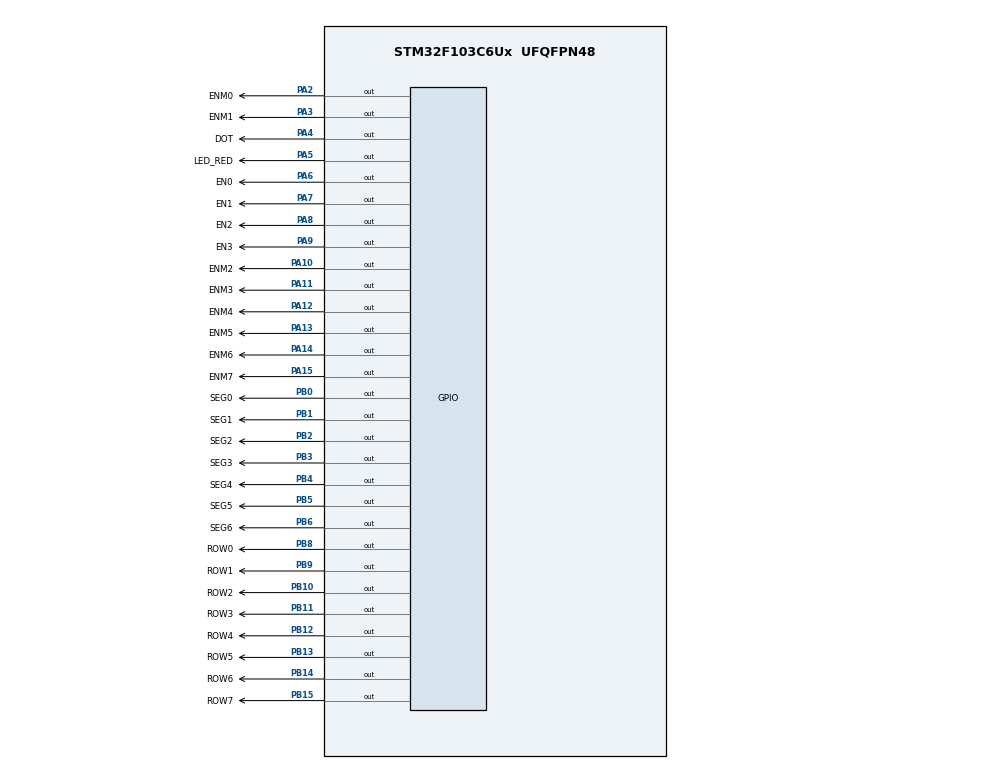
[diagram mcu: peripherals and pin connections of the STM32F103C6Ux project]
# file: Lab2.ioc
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Mcu.Family=STM32F1
Mcu.Name=STM32F103C6Ux
Mcu.Package=UFQFPN48
NVIC.PriorityGroup=NVIC_PRIORITYGROUP_4
NVIC.TIM2_IRQn=true\:0\:0\:false\:false\:true\:true\:true
PA10.GPIO_Label=ENM2
PA10.Signal=GPIO_Output
PA11.GPIO_Label=ENM3
PA11.Signal=GPIO_Output
PA12.GPIO_Label=ENM4
PA12.Signal=GPIO_Output
PA13.GPIO_Label=ENM5
PA13.Signal=GPIO_Output
PA14.GPIO_Label=ENM6
PA14.Signal=GPIO_Output
PA15.GPIO_Label=ENM7
PA15.Signal=GPIO_Output
PA2.GPIO_Label=ENM0
PA2.Signal=GPIO_Output
PA3.GPIO_Label=ENM1
PA3.Signal=GPIO_Output
PA4.GPIO_Label=DOT
PA4.Signal=GPIO_Output
PA5.GPIO_Label=LED_RED
PA5.Signal=GPIO_Output
PA6.GPIO_Label=EN0
PA6.Signal=GPIO_Output
PA7.GPIO_Label=EN1
PA7.Signal=GPIO_Output
PA8.GPIO_Label=EN2
PA8.Signal=GPIO_Output
PA9.GPIO_Label=EN3
PA9.Signal=GPIO_Output
PB0.GPIO_Label=SEG0
PB0.Signal=GPIO_Output
PB1.GPIO_Label=SEG1
PB1.Signal=GPIO_Output
PB10.GPIO_Label=ROW2
PB10.Signal=GPIO_Output
PB11.GPIO_Label=ROW3
PB11.Signal=GPIO_Output
PB12.GPIO_Label=ROW4
PB12.Signal=GPIO_Output
PB13.GPIO_Label=ROW5
PB13.Signal=GPIO_Output
PB14.GPIO_Label=ROW6
PB14.Signal=GPIO_Output
PB15.GPIO_Label=ROW7
PB15.Signal=GPIO_Output
PB2.GPIO_Label=SEG2
PB2.Signal=GPIO_Output
PB3.GPIO_Label=SEG3
PB3.Signal=GPIO_Output
PB4.GPIO_Label=SEG4
PB4.Signal=GPIO_Output
PB5.GPIO_Label=SEG5
PB5.Signal=GPIO_Output
PB6.GPIO_Label=SEG6
PB6.Signal=GPIO_Output
PB8.GPIO_Label=ROW0
PB8.Signal=GPIO_Output
PB9.GPIO_Label=ROW1
PB9.Signal=GPIO_Output
ProjectManager.HeapSize=0x200
ProjectManager.StackSize=0x400
ProjectManager.TargetToolchain=STM32CubeIDE
RCC.APB1Freq_Value=8000000
RCC.APB2Freq_Value=8000000
TIM2.Period=9
TIM2.Prescaler=7999
VP_SYS_VS_ND.Mode=No_Debug
VP_TIM2_VS_ClockSourceINT.Mode=Internal
board=custom

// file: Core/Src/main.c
/* USER CODE BEGIN Header */
/**
  ******************************************************************************
  * @file           : main.c
  * @brief          : Main program body
  ******************************************************************************
  * @attention
  *
  * <h2><center>&copy; Copyright (c) 2024 STMicroelectronics.
  * All rights reserved.</center></h2>
  *
  * This software component is licensed by ST under BSD 3-Clause license,
  * the "License"; You may not use this file except in compliance with the
  * License. You may obtain a copy of the License at:
  *                        opensource.org/licenses/BSD-3-Clause
  *
  ******************************************************************************
  */
/* USER CODE END Header */
#include "main.h"

/* USER CODE BEGIN Includes */
#include "led7seg1.h"
#include "timer.h"
#include "ledmatrix.h"
/* USER CODE END Includes */

TIM_HandleTypeDef htim2;

void SystemClock_Config(void);
static void MX_TIM2_Init(void);
static void MX_GPIO_Init(void);

/* USER CODE BEGIN 0 */
int hour = 15, minute = 8, second = 50;
int led_buffer[4];
int index_led = 0;
int index_led_matrix = 0;
uint8_t matrix_buffer[8] = {
		0x06,
		0x01,
		0x06,
		0x06,
		0x06,
		0x06,
		0x01,
		0x02
};
void updateLEDMatrix(int index)
{
	switch(index)
	{
	case 0:
		selectRow(index);
		determineCol(matrix_buffer[index]);
		break;
	case 1:
		selectRow(index);
		determineCol(matrix_buffer[index]);
		break;
	case 2:
		selectRow(index);
		determineCol(matrix_buffer[index]);
		break;
	case 3:
		selectRow(index);
		determineCol(matrix_buffer[index]);
		break;
	case 4:
		selectRow(index);
		determineCol(matrix_buffer[index]);
		break;
	case 5:
		selectRow(index);
		determineCol(matrix_buffer[index]);
		break;
	case 6:
		selectRow(index);
		determineCol(matrix_buffer[index]);
		break;
	case 7:
		selectRow(index);
		determineCol(matrix_buffer[index]);
		break;
	default:
		break;
	}
}

void update7SEG(int index)
{
	HAL_GPIO_WritePin(EN0_GPIO_Port, EN0_Pin, SET);
	HAL_GPIO_WritePin(EN1_GPIO_Port, EN1_Pin, SET);
	HAL_GPIO_WritePin(EN2_GPIO_Port, EN2_Pin, SET);
	HAL_GPIO_WritePin(EN3_GPIO_Port, EN3_Pin, SET);
	switch(index)
	{
	case 0:
		display7SEG(led_buffer[0]);
		HAL_GPIO_WritePin(EN0_GPIO_Port, EN0_Pin, RESET);
		break;
	case 1:
		display7SEG(led_buffer[1]);
		HAL_GPIO_WritePin(EN1_GPIO_Port, EN1_Pin, RESET);
		break;
	case 2:
		display7SEG(led_buffer[2]);
		HAL_GPIO_WritePin(EN2_GPIO_Port, EN2_Pin, RESET);
		break;
	case 3:
		display7SEG(led_buffer[3]);
		HAL_GPIO_WritePin(EN3_GPIO_Port, EN3_Pin, RESET);
		break;
	default:
		break;
	}
}

/* USER CODE END 0 */

int main(void)
{

  /* MCU Configuration--------------------------------------------------------*/

  /* Reset of all peripherals, Initializes the Flash interface and the Systick. */
  HAL_Init();

  /* Configure the system clock */
  SystemClock_Config();

  /* Initialize all configured peripherals */
  MX_TIM2_Init();
  MX_GPIO_Init();
  /* USER CODE BEGIN 2 */
  HAL_TIM_Base_Start_IT(&htim2);
  /* USER CODE END 2 */

  /* Infinite loop */
  /* USER CODE BEGIN WHILE */

  void updateClockBuffer()
  {
  	if(hour <= 9)
  	{
  		led_buffer[0] = 0;
  		led_buffer[1] = hour;
  	}
  	else
  	{
  		led_buffer[0] = hour / 10;
  		led_buffer[1] = hour % 10;
  	}
  	if(minute <= 9)
  	{
  		led_buffer[2] = 0;
  		led_buffer[3] = minute;
  	}
  	else
  	{
  		led_buffer[2] = minute / 10;
  		led_buffer[3] = minute % 10;
  	}
  }
  setTimer0(COUNT_LED_INIT);
  setTimer1(COUNT_7SEG_INIT);
  setTimer2(1000);
  while (1)
  {
	  updateClockBuffer();
	  if(timer0_flag)
	  {
		  setTimer0(COUNT_LED_INIT);
		  HAL_GPIO_TogglePin(DOT_GPIO_Port, DOT_Pin);
		  second++;
		  if(second >= 60)
		  {
			  second = 0;
			  minute++;
		  }
		  if(minute >= 60)
		  {
			  minute = 0;
			  hour++;
		  }
		  if(hour >= 24)
		  {
			  hour = 0;
		  }
		  updateClockBuffer();
	  }
	  if(timer1_flag)
	  {
		  setTimer1(COUNT_7SEG_INIT);
		  update7SEG(index_led);
		  index_led = (index_led + 1) % MAX_LED;
	  }
	  if(timer2_flag)
	  {
		  setTimer2(1000);
		  updateLEDMatrix(index_led_matrix);
		  index_led_matrix = (index_led_matrix + 1) % MAX_LED_MATRIX;
	  }
    /* USER CODE END WHILE */

  }
}

void SystemClock_Config(void)
{
  RCC_OscInitTypeDef RCC_OscInitStruct = {0};
  RCC_ClkInitTypeDef RCC_ClkInitStruct = {0};

  /** Initializes the RCC Oscillators according to the specified parameters
  * in the RCC_OscInitTypeDef structure.
  */
  RCC_OscInitStruct.OscillatorType = RCC_OSCILLATORTYPE_HSI;
  RCC_OscInitStruct.HSIState = RCC_HSI_ON;
  RCC_OscInitStruct.HSICalibrationValue = RCC_HSICALIBRATION_DEFAULT;
  RCC_OscInitStruct.PLL.PLLState = RCC_PLL_NONE;
  if (HAL_RCC_OscConfig(&RCC_OscInitStruct) != HAL_OK)
  {
    Error_Handler();
  }
  /** Initializes the CPU, AHB and APB buses clocks
  */
  RCC_ClkInitStruct.ClockType = RCC_CLOCKTYPE_HCLK|RCC_CLOCKTYPE_SYSCLK
                              |RCC_CLOCKTYPE_PCLK1|RCC_CLOCKTYPE_PCLK2;
  RCC_ClkInitStruct.SYSCLKSource = RCC_SYSCLKSOURCE_HSI;
  RCC_ClkInitStruct.AHBCLKDivider = RCC_SYSCLK_DIV1;
  RCC_ClkInitStruct.APB1CLKDivider = RCC_HCLK_DIV1;
  RCC_ClkInitStruct.APB2CLKDivider = RCC_HCLK_DIV1;

  if (HAL_RCC_ClockConfig(&RCC_ClkInitStruct, FLASH_LATENCY_0) != HAL_OK)
  {
    Error_Handler();
  }
}

static void MX_TIM2_Init(void)
{

  TIM_ClockConfigTypeDef sClockSourceConfig = {0};
  TIM_MasterConfigTypeDef sMasterConfig = {0};

  htim2.Instance = TIM2;
  htim2.Init.Prescaler = 7999;
  htim2.Init.CounterMode = TIM_COUNTERMODE_UP;
  htim2.Init.Period = 9;
  htim2.Init.ClockDivision = TIM_CLOCKDIVISION_DIV1;
  htim2.Init.AutoReloadPreload = TIM_AUTORELOAD_PRELOAD_DISABLE;
  if (HAL_TIM_Base_Init(&htim2) != HAL_OK)
  {
    Error_Handler();
  }
  sClockSourceConfig.ClockSource = TIM_CLOCKSOURCE_INTERNAL;
  if (HAL_TIM_ConfigClockSource(&htim2, &sClockSourceConfig) != HAL_OK)
  {
    Error_Handler();
  }
  sMasterConfig.MasterOutputTrigger = TIM_TRGO_RESET;
  sMasterConfig.MasterSlaveMode = TIM_MASTERSLAVEMODE_DISABLE;
  if (HAL_TIMEx_MasterConfigSynchronization(&htim2, &sMasterConfig) != HAL_OK)
  {
    Error_Handler();
  }

}

static void MX_GPIO_Init(void)
{
  GPIO_InitTypeDef GPIO_InitStruct = {0};

  /* GPIO Ports Clock Enable */
  __HAL_RCC_GPIOA_CLK_ENABLE();
  __HAL_RCC_GPIOB_CLK_ENABLE();

  /*Configure GPIO pin Output Level */
  HAL_GPIO_WritePin(GPIOA, ENM0_Pin|ENM1_Pin|DOT_Pin|LED_RED_Pin
                          |EN0_Pin|EN1_Pin|EN2_Pin|EN3_Pin
                          |ENM2_Pin|ENM3_Pin|ENM4_Pin|ENM5_Pin
                          |ENM6_Pin|ENM7_Pin, GPIO_PIN_RESET);

  /*Configure GPIO pin Output Level */
  HAL_GPIO_WritePin(GPIOB, SEG0_Pin|SEG1_Pin|SEG2_Pin|ROW2_Pin
                          |ROW3_Pin|ROW4_Pin|ROW5_Pin|ROW6_Pin
                          |ROW7_Pin|SEG3_Pin|SEG4_Pin|SEG5_Pin
                          |SEG6_Pin|ROW0_Pin|ROW1_Pin, GPIO_PIN_RESET);

  /*Configure GPIO pins : ENM0_Pin ENM1_Pin DOT_Pin LED_RED_Pin
                           EN0_Pin EN1_Pin EN2_Pin EN3_Pin
                           ENM2_Pin ENM3_Pin ENM4_Pin ENM5_Pin
                           ENM6_Pin ENM7_Pin */
  GPIO_InitStruct.Pin = ENM0_Pin|ENM1_Pin|DOT_Pin|LED_RED_Pin
                          |EN0_Pin|EN1_Pin|EN2_Pin|EN3_Pin
                          |ENM2_Pin|ENM3_Pin|ENM4_Pin|ENM5_Pin
                          |ENM6_Pin|ENM7_Pin;
  GPIO_InitStruct.Mode = GPIO_MODE_OUTPUT_PP;
  GPIO_InitStruct.Pull = GPIO_NOPULL;
  GPIO_InitStruct.Speed = GPIO_SPEED_FREQ_LOW;
  HAL_GPIO_Init(GPIOA, &GPIO_InitStruct);

  /*Configure GPIO pins : SEG0_Pin SEG1_Pin SEG2_Pin ROW2_Pin
                           ROW3_Pin ROW4_Pin ROW5_Pin ROW6_Pin
                           ROW7_Pin SEG3_Pin SEG4_Pin SEG5_Pin
                           SEG6_Pin ROW0_Pin ROW1_Pin */
  GPIO_InitStruct.Pin = SEG0_Pin|SEG1_Pin|SEG2_Pin|ROW2_Pin
                          |ROW3_Pin|ROW4_Pin|ROW5_Pin|ROW6_Pin
                          |ROW7_Pin|SEG3_Pin|SEG4_Pin|SEG5_Pin
                          |SEG6_Pin|ROW0_Pin|ROW1_Pin;
  GPIO_InitStruct.Mode = GPIO_MODE_OUTPUT_PP;
  GPIO_InitStruct.Pull = GPIO_NOPULL;
  GPIO_InitStruct.Speed = GPIO_SPEED_FREQ_LOW;
  HAL_GPIO_Init(GPIOB, &GPIO_InitStruct);

}

/* USER CODE BEGIN 4 */

void HAL_TIM_PeriodElapsedCallback(TIM_HandleTypeDef *htim)
{
	timer_run();
}
/* USER CODE END 4 */

void Error_Handler(void)
{
  __disable_irq();
  while (1)
  {
  }
}

/************************ (C) COPYRIGHT STMicroelectronics *****END OF FILE****/
